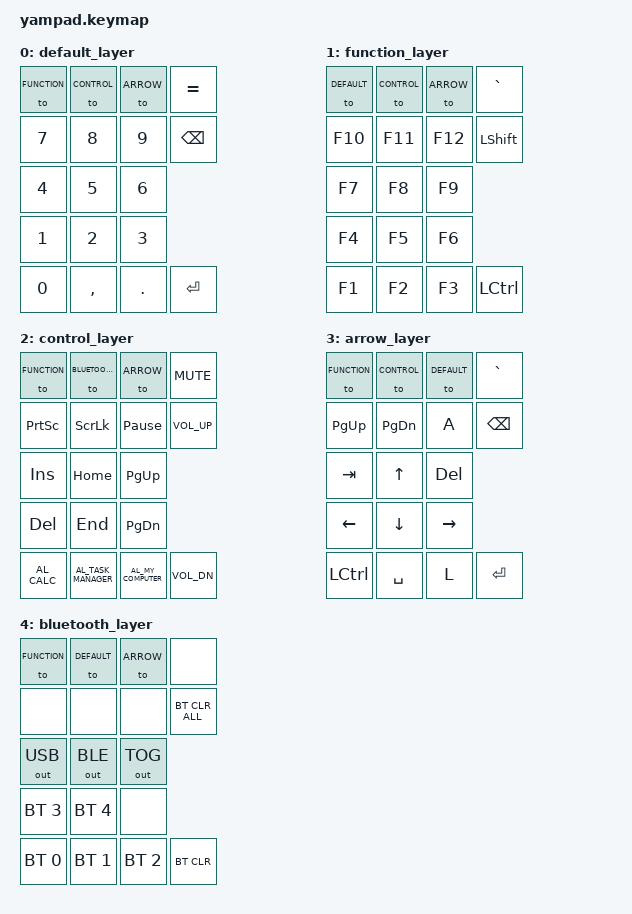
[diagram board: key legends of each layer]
/*
 * Copyright (c) 2020 The ZMK Contributors
 *
 * SPDX-License-Identifier: MIT
 */

#include <behaviors.dtsi>
#include <dt-bindings/zmk/keys.h>
#include <dt-bindings/zmk/bt.h>
#include <dt-bindings/zmk/ext_power.h>
#include <dt-bindings/zmk/outputs.h>

#define DEFAULT 0
#define FUNCTION 1
#define CONTROL 2
#define ARROW 3
#define BLUETOOTH 4

/ {
    keymap {
        compatible = "zmk,keymap";

        default_layer {
            bindings = <
    &to FUNCTION  &to CONTROL &to ARROW &kp EQUAL
    &kp N7    &kp N8    &kp N9    &kp BSPC
    &kp N4    &kp N5    &kp N6                                        
    &kp N1    &kp N2    &kp N3    
    &kp N0    &kp COMMA &kp DOT   &kp ENTER
            >;
        };

        function_layer {
            bindings = <
    &to DEFAULT  &to CONTROL &to ARROW   &kp GRAVE
    &kp F10   &kp F11   &kp F12   &kp LSHIFT
    &kp F7    &kp F8    &kp F9    
    &kp F4    &kp F5    &kp F6                                        
    &kp F1    &kp F2    &kp F3    &kp LCTRL
            >;
        };

        control_layer {
            bindings = <
    &to FUNCTION &to BLUETOOTH &to ARROW &kp C_MUTE
    &kp PSCRN &kp SLCK  &kp PAUSE_BREAK &kp C_VOL_UP
    &kp INS   &kp HOME  &kp PG_UP                                        
    &kp DEL   &kp END   &kp PG_DN    
    &kp C_AL_CALC &kp C_AL_TASK_MANAGER &kp C_AL_MY_COMPUTER &kp C_VOL_DN
            >;
        };

        arrow_layer {
            bindings = <
    &to FUNCTION &to CONTROL &to DEFAULT &kp GRAVE
    &kp PG_UP    &kp PG_DN   &kp A       &kp BSPC
    &kp TAB      &kp UP      &kp DEL                     
    &kp LEFT     &kp DOWN    &kp RIGHT
    &kp LCTRL    &kp SPACE   &kp L       &kp ENTER
            >;
        };

        bluetooth_layer {
            bindings = <
    &to FUNCTION &to DEFAULT &to ARROW    &none
    &none        &none        &none       &bt BT_CLR_ALL
    &out OUT_USB &out OUT_BLE &out OUT_TOG                                        
    &bt BT_SEL 3 &bt BT_SEL 4 &none    
    &bt BT_SEL 0 &bt BT_SEL 1 &bt BT_SEL 2 &bt BT_CLR
            >;
        };
    };
};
